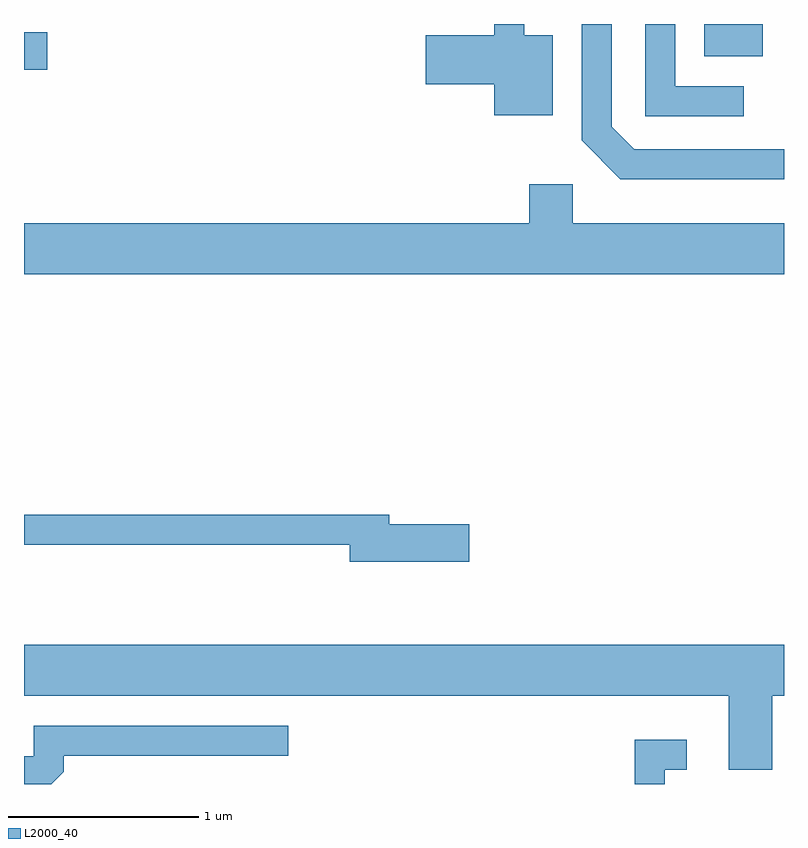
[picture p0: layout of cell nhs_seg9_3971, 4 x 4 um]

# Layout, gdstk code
import gdstk
lib = gdstk.Library(unit=1e-6, precision=1e-09)
def R(c, l, rs):  # rectangles x0, y0, x1, y1
    for r in rs: c.add(gdstk.rectangle(r[:2], r[2:], *l))
def P(c, l, *ps):  # polygons
    for p in ps: c.add(gdstk.Polygon(p, *l))
L2000_40 = (2000, 40)

nhs_seg9_3971 = lib.new_cell('nhs_seg9_3971')
R(nhs_seg9_3971, L2000_40, [(301.611,2026.191,301.734,2026.389), (305.191,2026.261,305.499,2026.432)])
P(nhs_seg9_3971, L2000_40, [(305.398,2026.104),(305.039,2026.104),(305.039,2026.432),(304.881,2026.432),(304.881,2025.946),(305.398,2025.946)],
  [(304.394,2026.374),(304.244,2026.374),(304.244,2026.432),(304.086,2026.432),(304.086,2026.374),(303.726,2026.374),(303.726,2026.116),(304.086,2026.116),(304.086,2025.951),(304.394,2025.951)],
  [(305.611,2025.774),(304.822,2025.774),(304.704,2025.892),(304.704,2026.432),(304.546,2026.432),(304.546,2025.819),(304.749,2025.616),(305.611,2025.616)],
  [(305.611,2025.384),(304.499,2025.384),(304.499,2025.589),(304.271,2025.589),(304.271,2025.384),(301.611,2025.384),(301.611,2025.116),(305.611,2025.116)],
  [(303.954,2023.799),(303.534,2023.799),(303.534,2023.849),(301.611,2023.849),(301.611,2023.691),(303.326,2023.691),(303.326,2023.601),(303.954,2023.601)],
  [(305.549,2022.896),(305.611,2022.896),(305.611,2023.164),(301.611,2023.164),(301.611,2022.896),(305.321,2022.896),(305.321,2022.506),(305.549,2022.506)],
  [(301.819,2022.497),(301.819,2022.581),(303.003,2022.581),(303.003,2022.739),(301.661,2022.739),(301.661,2022.579),(301.611,2022.579),(301.611,2022.432),(301.755,2022.432)],
  [(304.984,2022.506),(305.098,2022.506),(305.098,2022.664),(304.826,2022.664),(304.826,2022.432),(304.984,2022.432)])

lib.write_gds('nhs_seg9_3971.gds')
